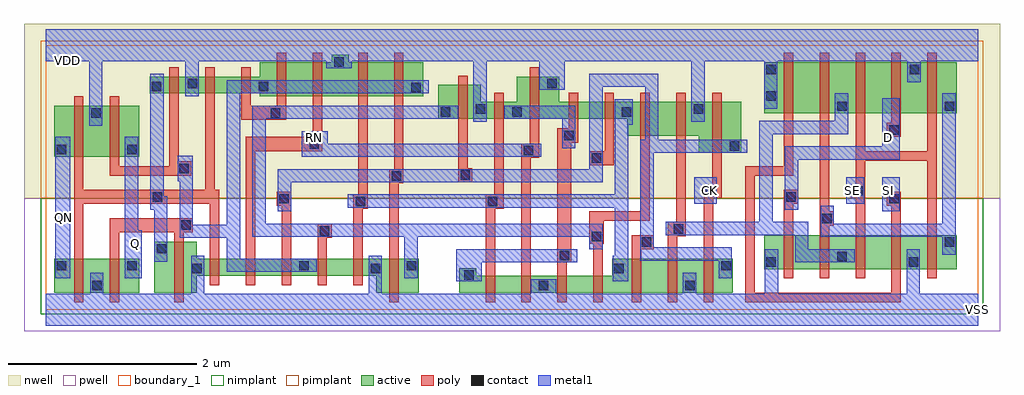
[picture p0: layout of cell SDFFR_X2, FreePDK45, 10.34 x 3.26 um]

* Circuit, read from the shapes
.subckt SDFFR_X2 CK D Q QN RN SE SI VDD VSS
M1 VSS n1 QN VSUBS nfet w=0.36u l=0.1u
M2 Q n2 VSS VSUBS nfet w=0.36u l=0.1u
M3 VSS n2 n1 VSUBS nfet w=0.54u l=0.1u
M4 n3 n1 VSS VSUBS nfet w=0.18u l=0.1u
M5 n4 RN n3 VSUBS nfet w=0.18u l=0.1u
M6 n2 n5 n4 VSUBS nfet w=0.18u l=0.1u
M7 n6 n7 n2 VSUBS nfet w=0.18u l=0.1u
M8 VSS n8 n6 VSUBS nfet w=0.18u l=0.1u
M9 n7 n5 VSS VSUBS nfet w=0.36u l=0.1u
M10 n9 n8 n10 VSUBS nfet w=0.18u l=0.1u
M11 VSS RN n9 VSUBS nfet w=0.18u l=0.1u
M12 n11 n10 VSS VSUBS nfet w=0.18u l=0.1u
M13 n8 n7 n11 VSUBS nfet w=0.18u l=0.1u
M14 n12 n5 n8 VSUBS nfet w=0.36u l=0.1u
M15 VSS n13 n12 VSUBS nfet w=0.36u l=0.1u
M16 n5 CK VSS VSUBS nfet w=0.36u l=0.1u
M17 n14 D VSS VSUBS nfet w=0.36u l=0.1u
M18 n13 n15 n14 VSUBS nfet w=0.36u l=0.1u
M19 n16 SE n13 VSUBS nfet w=0.36u l=0.1u
M20 VSS SI n16 VSUBS nfet w=0.36u l=0.1u
M21 n15 SE VSS VSUBS nfet w=0.36u l=0.1u
M22 VDD n1 QN n17 pfet w=0.54u l=0.1u
M23 Q n2 VDD n17 pfet w=0.54u l=0.1u
M24 VDD n2 n1 n17 pfet w=0.18u l=0.1u
M25 n18 n1 VDD n17 pfet w=0.18u l=0.1u
M26 n2 n7 n18 n17 pfet w=0.18u l=0.1u
M27 n19 n7 n2 n17 pfet w=0.36u l=0.1u
M28 VDD RN n19 n17 pfet w=0.36u l=0.1u
M29 n20 n8 VDD n17 pfet w=0.36u l=0.1u
M30 n2 n5 n20 n17 pfet w=0.36u l=0.1u
M31 VDD n5 n7 n17 pfet w=0.36u l=0.1u
M32 n10 n8 VDD n17 pfet w=0.18u l=0.1u
M33 VDD RN n10 n17 pfet w=0.45u l=0.1u
M34 n21 n10 VDD n17 pfet w=0.18u l=0.1u
M35 n8 n5 n21 n17 pfet w=0.18u l=0.1u
M36 n22 n7 n8 n17 pfet w=0.36u l=0.1u
M37 VDD n13 n22 n17 pfet w=0.36u l=0.1u
M38 n5 CK VDD n17 pfet w=0.54u l=0.1u
M39 n23 SI VDD n17 pfet w=0.54u l=0.1u
M40 n13 n15 n23 n17 pfet w=0.54u l=0.1u
M41 n24 SE n13 n17 pfet w=0.54u l=0.1u
M42 VDD D n24 n17 pfet w=0.54u l=0.1u
M43 n15 SE VDD n17 pfet w=0.54u l=0.1u
.ends

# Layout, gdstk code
import gdstk
lib = gdstk.Library(unit=1e-6, precision=1e-09)
def R(c, l, rs):  # rectangles x0, y0, x1, y1
    for r in rs: c.add(gdstk.rectangle(r[:2], r[2:], *l))
def P(c, l, *ps):  # polygons
    for p in ps: c.add(gdstk.Polygon(p, *l))
active = (1, 0)
pwell = (2, 0)
nwell = (3, 0)
nimplant = (4, 0)
pimplant = (5, 0)
poly = (9, 0)
contact = (10, 0)
metal1 = (11, 0)
boundary_1 = (235, 1)

sdffr_x2 = lib.new_cell('SDFFR_X2')
R(sdffr_x2, active, [(0.09,0.18,0.99,0.54), (7.61,0.43,9.65,0.79), (0.09,1.62,0.99,2.16), (7.61,2.08,9.65,2.62)])
P(sdffr_x2, active, [(4.16,2.02),(6.16,2.02),(6.16,1.84),(6.92,1.84),(6.92,1.66),(7.37,1.66),(7.37,2.2),(5.44,2.2),(5.44,2.47),(4.99,2.47),(4.99,2.2),(4.61,2.2),(4.61,2.38),(4.16,2.38)],
  [(4.38,0.18),(7.28,0.18),(7.28,0.54),(6,0.54),(6,0.36),(4.56,0.36),(4.56,0.44),(4.38,0.44)],
  [(1.1,2.29),(2.27,2.29),(2.27,2.26),(4,2.26),(4,2.62),(3.21,2.62),(3.21,2.7),(3.03,2.7),(3.03,2.62),(2.27,2.62),(2.27,2.47),(1.1,2.47)],
  [(1.15,0.18),(1.6,0.18),(1.6,0.36),(3.5,0.36),(3.5,0.18),(3.95,0.18),(3.95,0.54),(1.6,0.54),(1.6,0.72),(1.15,0.72)])
R(sdffr_x2, pwell, [(-0.23,-0.23,10.11,1.18)])
R(sdffr_x2, nwell, [(-0.23,1.18,10.11,3.03)])
R(sdffr_x2, nimplant, [(-0.05,-0.05,9.93,1.18)])
R(sdffr_x2, pimplant, [(-0.05,1.18,9.93,2.85)])
P(sdffr_x2, poly, [(8.53,1.18),(8.58,1.18),(8.58,0.33),(8.68,0.33),(8.68,1.58),(9.34,1.58),(9.34,0.33),(9.44,0.33),(9.44,2.72),(9.34,2.72),(9.34,1.68),(8.68,1.68),(8.68,2.72),(8.58,2.72),(8.58,1.33),(8.53,1.33)],
  [(8.91,1.83),(9.06,1.83),(9.06,2.72),(8.96,2.72),(8.96,1.98),(8.91,1.98)],
  [(8.91,1.1),(8.96,1.1),(8.96,0.18),(7.51,0.18),(7.51,1.42),(7.92,1.42),(7.92,2.72),(7.82,2.72),(7.82,1.52),(7.41,1.52),(7.41,0.08),(9.06,0.08),(9.06,1.25),(8.91,1.25)],
  [(8.2,0.33),(8.3,0.33),(8.3,0.89),(8.35,0.89),(8.35,1.04),(8.3,1.04),(8.3,2.72),(8.2,2.72)],
  [(7.82,0.33),(7.92,0.33),(7.92,1.12),(7.97,1.12),(7.97,1.27),(7.82,1.27)],
  [(6.97,0.08),(7.07,0.08),(7.07,1.18),(7.16,1.18),(7.16,2.3),(7.06,2.3),(7.06,1.33),(6.97,1.33)],
  [(6.59,0.08),(6.69,0.08),(6.69,0.78),(6.78,0.78),(6.78,2.3),(6.68,2.3),(6.68,0.93),(6.59,0.93)],
  [(6.21,0.08),(6.31,0.08),(6.31,0.64),(6.44,0.64),(6.44,0.79),(6.21,0.79)],
  [(5.76,0.7),(5.8,0.7),(5.8,0.08),(5.9,0.08),(5.9,0.7),(5.91,0.7),(5.91,0.94),(6.4,0.94),(6.4,2.3),(6.3,2.3),(6.3,1.04),(5.76,1.04)],
  [(5.76,1.53),(6.02,1.53),(6.02,2.3),(5.92,2.3),(5.92,1.68),(5.76,1.68)],
  [(5.42,0.08),(5.52,0.08),(5.52,0.5),(5.57,0.5),(5.57,1.77),(5.64,1.77),(5.64,2.3),(5.54,2.3),(5.54,1.92),(5.42,1.92)],
  [(5.04,0.08),(5.14,0.08),(5.14,1.61),(5.23,1.61),(5.23,2.57),(5.13,2.57),(5.13,1.76),(5.04,1.76)],
  [(4.66,0.08),(4.76,0.08),(4.76,1.07),(4.85,1.07),(4.85,2.3),(4.75,2.3),(4.75,1.22),(4.66,1.22)],
  [(4.37,1.35),(4.52,1.35),(4.52,1.5),(4.47,1.5),(4.47,2.48),(4.37,2.48)],
  [(3.64,0.08),(3.74,0.08),(3.74,1.34),(3.79,1.34),(3.79,2.72),(3.69,2.72),(3.69,1.49),(3.64,1.49)],
  [(3.26,0.26),(3.36,0.26),(3.36,1.07),(3.41,1.07),(3.41,2.72),(3.31,2.72),(3.31,1.22),(3.26,1.22)],
  [(2.88,0.26),(2.98,0.26),(2.98,0.76),(3.03,0.76),(3.03,0.91),(2.88,0.91)],
  [(2.12,0.26),(2.22,0.26),(2.22,1.68),(2.93,1.68),(2.93,2.72),(2.83,2.72),(2.83,1.83),(2.12,1.83)],
  [(2.45,1.1),(2.5,1.1),(2.5,0.26),(2.6,0.26),(2.6,1.25),(2.45,1.25)],
  [(2.07,2.01),(2.55,2.01),(2.55,2.72),(2.45,2.72),(2.45,2.16),(2.17,2.16),(2.17,2.57),(2.07,2.57)],
  [(0.3,0.08),(0.4,0.08),(0.4,1.12),(1.74,1.12),(1.74,0.26),(1.84,0.26),(1.84,1.27),(1.79,1.27),(1.79,2.57),(1.69,2.57),(1.69,1.27),(0.4,1.27),(0.4,2.26),(0.3,2.26)],
  [(0.68,0.08),(0.78,0.08),(0.78,0.82),(1.36,0.82),(1.36,0.08),(1.46,0.08),(1.46,0.82),(1.56,0.82),(1.56,0.97),(0.68,0.97)],
  [(0.68,1.42),(1.54,1.42),(1.54,1.57),(1.41,1.57),(1.41,2.57),(1.31,2.57),(1.31,1.52),(0.78,1.52),(0.78,2.26),(0.68,2.26)])
R(sdffr_x2, contact, [(0.495,0.205,0.595,0.305), (5.225,0.205,5.325,0.305), (6.775,0.205,6.875,0.305), (4.435,0.315,4.535,0.415), (1.555,0.385,1.655,0.485), (3.445,0.385,3.545,0.485), (6.025,0.385,6.125,0.485), (0.115,0.415,0.215,0.515), (0.865,0.415,0.965,0.515), (2.685,0.415,2.785,0.515), (3.825,0.415,3.925,0.515), (7.155,0.415,7.255,0.515), (7.635,0.455,7.735,0.555), (9.145,0.455,9.245,0.555), (8.385,0.515,8.485,0.615), (5.445,0.525,5.545,0.625), (1.175,0.595,1.275,0.695), (6.315,0.665,6.415,0.765), (9.525,0.665,9.625,0.765), (5.785,0.725,5.885,0.825), (2.905,0.785,3.005,0.885), (6.655,0.805,6.755,0.905), (1.435,0.845,1.535,0.945), (8.225,0.915,8.325,1.015), (3.285,1.095,3.385,1.195), (4.685,1.095,4.785,1.195), (2.475,1.125,2.575,1.225), (8.935,1.125,9.035,1.225), (1.135,1.145,1.235,1.245), (7.845,1.145,7.945,1.245), (6.995,1.205,7.095,1.305), (8.555,1.205,8.655,1.305), (3.665,1.365,3.765,1.465), (4.395,1.375,4.495,1.475), (1.415,1.445,1.515,1.545), (5.785,1.555,5.885,1.655), (5.065,1.635,5.165,1.735), (0.115,1.645,0.215,1.745), (0.865,1.645,0.965,1.745), (7.245,1.685,7.345,1.785), (2.795,1.705,2.895,1.805), (5.495,1.795,5.595,1.895), (8.935,1.855,9.035,1.955), (0.485,2.035,0.585,2.135), (2.385,2.035,2.485,2.135), (4.185,2.045,4.285,2.145), (4.945,2.045,5.045,2.145), (6.105,2.045,6.205,2.145), (4.555,2.075,4.655,2.175), (6.865,2.075,6.965,2.175), (8.385,2.105,8.485,2.205), (9.525,2.105,9.625,2.205), (7.635,2.215,7.735,2.315), (3.875,2.305,3.975,2.405), (1.125,2.315,1.225,2.415), (2.255,2.315,2.355,2.415), (1.505,2.345,1.605,2.445), (5.315,2.345,5.415,2.445), (7.635,2.495,7.735,2.595), (9.155,2.495,9.255,2.595), (3.055,2.575,3.155,2.675)])
R(sdffr_x2, metal1, [(0.1,0.33,0.26,1.83), (0.1,0.33,0.26,1.83), (8.86,1.04,9.05,1.4), (8.86,1.04,9.05,1.4), (6.87,1.12,7.11,1.4), (6.87,1.12,7.11,1.4), (8.48,1.12,8.67,1.4), (8.48,1.12,8.67,1.4)])
P(sdffr_x2, metal1, [(7.83,1.06),(7.97,1.06),(7.97,1.59),(9.05,1.59),(9.05,2.24),(8.86,2.24),(8.86,1.73),(7.83,1.73)],
  [(0,-0.17),(9.88,-0.17),(9.88,0.17),(9.26,0.17),(9.26,0.64),(9.12,0.64),(9.12,0.17),(7.76,0.17),(7.76,0.64),(7.62,0.64),(7.62,0.17),(6.89,0.17),(6.89,0.39),(6.75,0.39),(6.75,0.17),(5.41,0.17),(5.41,0.32),(5.14,0.32),(5.14,0.17),(3.56,0.17),(3.56,0.57),(3.42,0.57),(3.42,0.17),(1.68,0.17),(1.68,0.57),(1.54,0.57),(1.54,0.17),(0.61,0.17),(0.61,0.39),(0.47,0.39),(0.47,0.17),(0,0.17)],
  [(0.84,0.33),(1.02,0.33),(1.02,0.84),(0.98,0.84),(0.98,1.83),(0.84,1.83)],
  [(0,2.63),(0.46,2.63),(0.46,1.95),(0.6,1.95),(0.6,2.63),(1.48,2.63),(1.48,2.26),(1.62,2.26),(1.62,2.63),(2.97,2.63),(2.97,2.56),(3.24,2.56),(3.24,2.63),(4.53,2.63),(4.53,1.99),(4.67,1.99),(4.67,2.63),(5.23,2.63),(5.23,2.33),(5.5,2.33),(5.5,2.63),(6.84,2.63),(6.84,1.99),(6.98,1.99),(6.98,2.63),(7.61,2.63),(7.61,2.13),(7.75,2.13),(7.75,2.63),(9.13,2.63),(9.13,2.41),(9.27,2.41),(9.27,2.63),(9.88,2.63),(9.88,2.97),(0,2.97)],
  [(2.71,1.62),(5.25,1.62),(5.25,1.76),(2.99,1.76),(2.99,1.89),(2.71,1.89)],
  [(0,2.63),(0.46,2.63),(0.46,1.95),(0.6,1.95),(0.6,2.63),(1.48,2.63),(1.48,2.26),(1.62,2.26),(1.62,2.63),(2.97,2.63),(2.97,2.56),(3.24,2.56),(3.24,2.63),(4.53,2.63),(4.53,1.99),(4.67,1.99),(4.67,2.63),(5.23,2.63),(5.23,2.33),(5.5,2.33),(5.5,2.63),(6.84,2.63),(6.84,1.99),(6.98,1.99),(6.98,2.63),(7.61,2.63),(7.61,2.13),(7.75,2.13),(7.75,2.63),(9.13,2.63),(9.13,2.41),(9.27,2.41),(9.27,2.63),(9.88,2.63),(9.88,2.97),(0,2.97)],
  [(0,-0.17),(9.88,-0.17),(9.88,0.17),(9.26,0.17),(9.26,0.64),(9.12,0.64),(9.12,0.17),(7.76,0.17),(7.76,0.64),(7.62,0.64),(7.62,0.17),(6.89,0.17),(6.89,0.39),(6.75,0.39),(6.75,0.17),(5.41,0.17),(5.41,0.32),(5.14,0.32),(5.14,0.17),(3.56,0.17),(3.56,0.57),(3.42,0.57),(3.42,0.17),(1.68,0.17),(1.68,0.57),(1.54,0.57),(1.54,0.17),(0.61,0.17),(0.61,0.39),(0.47,0.39),(0.47,0.17),(0,0.17)],
  [(8.21,0.77),(9.5,0.77),(9.5,0.58),(9.64,0.58),(9.64,2.29),(9.5,2.29),(9.5,0.91),(8.35,0.91),(8.35,1.1),(8.21,1.1)],
  [(7.83,1.06),(7.97,1.06),(7.97,1.59),(9.05,1.59),(9.05,2.24),(8.86,2.24),(8.86,1.73),(7.83,1.73)],
  [(6.57,0.79),(7.94,0.79),(7.94,0.5),(8.57,0.5),(8.57,0.64),(8.08,0.64),(8.08,0.93),(7.7,0.93),(7.7,1.86),(8.5,1.86),(8.5,2.29),(8.36,2.29),(8.36,2),(7.56,2),(7.56,0.93),(6.57,0.93)],
  [(6.44,1.66),(7.43,1.66),(7.43,1.8),(6.49,1.8),(6.49,2.5),(5.76,2.5),(5.76,1.49),(2.46,1.49),(2.46,1.04),(2.6,1.04),(2.6,1.35),(5.9,1.35),(5.9,2.36),(6.35,2.36),(6.35,1.8),(6.3,1.8),(6.3,0.52),(7.13,0.52),(7.13,0.33),(7.27,0.33),(7.27,0.66),(6.44,0.66)],
  [(3.2,1.08),(6.03,1.08),(6.03,0.57),(6.01,0.57),(6.01,0.3),(6.17,0.3),(6.17,1.96),(6.22,1.96),(6.22,2.23),(6.03,2.23),(6.03,1.22),(3.2,1.22)],
  [(2.19,0.77),(3.8,0.77),(3.8,0.33),(3.94,0.33),(3.94,0.77),(5.76,0.77),(5.76,0.64),(5.9,0.64),(5.9,0.91),(2.33,0.91),(2.33,2.02),(4.37,2.02),(4.37,2.16),(2.19,2.16)],
  [(4.35,0.3),(4.62,0.3),(4.62,0.5),(5.63,0.5),(5.63,0.64),(4.35,0.64)],
  [(4.86,2.02),(5.47,2.02),(5.47,1.71),(5.61,1.71),(5.61,2.16),(4.86,2.16)],
  [(2.71,1.62),(5.25,1.62),(5.25,1.76),(2.99,1.76),(2.99,1.89),(2.71,1.89)],
  [(2.06,2.29),(4.06,2.29),(4.06,2.43),(1.92,2.43),(1.92,0.9),(1.56,0.9),(1.56,1.63),(1.4,1.63),(1.4,1.36),(1.42,1.36),(1.42,0.76),(1.92,0.76),(1.92,0.4),(2.87,0.4),(2.87,0.54),(2.06,0.54)],
  [(1.11,1.06),(1.15,1.06),(1.15,0.51),(1.29,0.51),(1.29,1.2),(1.25,1.2),(1.25,2.5),(1.11,2.5)],
  [(0.84,0.33),(1.02,0.33),(1.02,0.84),(0.98,0.84),(0.98,1.83),(0.84,1.83)])
R(sdffr_x2, boundary_1, [(0,0,9.88,2.8)])
sdffr_x2.add(gdstk.Label('VSS', (9.87,0), layer=11, texttype=0))
sdffr_x2.add(gdstk.Label('VDD', (0.23,2.64), layer=11, texttype=0))
sdffr_x2.add(gdstk.Label('SI', (8.93,1.26), layer=11, texttype=0))
sdffr_x2.add(gdstk.Label('SE', (8.55,1.26), layer=11, texttype=0))
sdffr_x2.add(gdstk.Label('RN', (2.85,1.82), layer=11, texttype=0))
sdffr_x2.add(gdstk.Label('QN', (0.19,0.98), layer=11, texttype=0))
sdffr_x2.add(gdstk.Label('Q', (0.95,0.7), layer=11, texttype=0))
sdffr_x2.add(gdstk.Label('D', (8.93,1.82), layer=11, texttype=0))
sdffr_x2.add(gdstk.Label('CK', (7.03,1.26), layer=11, texttype=0))

lib.write_gds('SDFFR_X2.gds')
